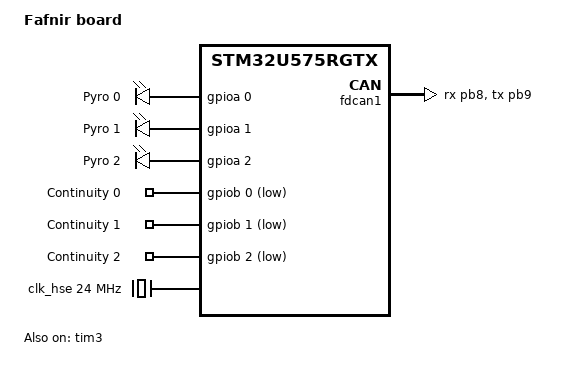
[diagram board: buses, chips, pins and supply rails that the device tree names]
/dts-v1/;
#include <st/u5/stm32u575Xg.dtsi    >
#include <st/u5/stm32u575rgtx-pinctrl.dtsi>
#include <zephyr/dt-bindings/input/input-event-codes.h>

/ {
	model = "Fafnir board";

	chosen {
		zephyr,sram = &sram0;
		zephyr,flash = &flash0;
		zephyr,canbus = &fdcan1;
	};

    pyros: pyro_channels {
        compatible = "gpio-leds";
        
        pyro0: pyro0 {
            gpios = <&gpioa 0 GPIO_ACTIVE_HIGH>;
            label = "Pyro 0";
        };
        pyro1: pyro1 {
            gpios = <&gpioa 1 GPIO_ACTIVE_HIGH>;
            label = "Pyro 1";
        };
        pyro2: pyro2 {
            gpios = <&gpioa 2 GPIO_ACTIVE_HIGH>;
            label = "Pyro 2";
        };
    };

    continuity: continuity_channels {
        compatible = "gpio-keys";

        cont0: cont0 {
            gpios = <&gpiob 0 (GPIO_ACTIVE_LOW)>;
            label = "Continuity 0";
        };
        cont1: cont1 {
            gpios = <&gpiob 1 (GPIO_ACTIVE_LOW)>;
            label = "Continuity 1";
        };
        cont2: cont2 {
            gpios = <&gpiob 2 (GPIO_ACTIVE_LOW)>;
            label = "Continuity 2";
        };
    };

    buzzer: buzzer {
        compatible = "gpio-leds";
        gpios = <&gpioc 3 GPIO_ACTIVE_HIGH>;
        label = "Buzzer";
    };


    servo: servo_motor {
        compatible = "pwm-leds";
        pwms = <&tim3 1 PWM_POLARITY_NORMAL>;
        label = "Servo Motor";
    };

};

&clk_hse {
    clock-frequency = <DT_FREQ_M(24)>; /* your crystal MHz */
    status = "okay";
};

&pll1 {
	div-m = <2>;
	mul-n = <30>;
	div-q = <4>;
	div-r = <4>;
	clocks = <&clk_hse>;
	status = "okay";
};

&rcc {
	clocks = <&pll1>;
	clock-frequency = <DT_FREQ_M(90)>;
	ahb-prescaler = <1>;
	apb1-prescaler = <1>;
	apb2-prescaler = <1>;
	apb3-prescaler = <1>;
};

&tim3 {
	status = "okay";
	pinctrl-0 = <&tim3_ch1_pa6>;
	pinctrl-names = "default";
};


&fdcan1 {
	clocks = <&rcc STM32_CLOCK_BUS_APB1_2 0x00000200>,
		 <&rcc STM32_SRC_PLL1_Q FDCAN1_SEL(1)>;
	pinctrl-0 = <&fdcan1_rx_pb8 &fdcan1_tx_pb9>;
	pinctrl-names = "default";
	status = "okay";
};

